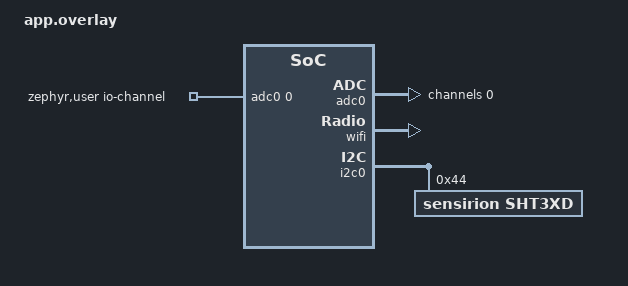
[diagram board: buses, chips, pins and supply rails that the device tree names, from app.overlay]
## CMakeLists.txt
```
cmake_minimum_required(VERSION 3.22)
set(BOARD esp32_devkitc_wrover)

find_package(Zephyr)
project(weather-station)

FILE(GLOB app_sources
    src/*.c
    src/wifi/*.c
    src/sensors/*.c
    src/telemetry/*.c
    )

target_sources(app PRIVATE ${app_sources})
```

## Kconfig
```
mainmenu "DRO application"

#
# Zephyr configuration options
# Source the Kconfig.zephyr in the Zephyr root directory.
# Check out the docs: https://docs.zephyrproject.org/latest/develop/application/index.html#application-cmakelists-txt
#
menu "Zephyr"
source "Kconfig.zephyr"
endmenu

#
# Set the module name for logging
# Check out the docs: https://docs.zephyrproject.org/latest/services/logging/index.html#logging-in-a-module
#

config MQTT_BROKER_IP_ADDRESS
    string "MQTT Broker IP Address"
    default "0.0.0.0"

config MQTT_BROKER_PORT
    int "MQTT Broker Port"
    default 1883

config WIFI_SSID
    string "WiFi SSID"
    default "Vlado"

config WIFI_PSK
    string "WiFi PSK"
    default "12345678"
```

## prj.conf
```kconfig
CONFIG_SENSOR=y
CONFIG_ADC=y
CONFIG_GPIO=y
CONFIG_I2C=y
CONFIG_DHT=y

# Logging
CONFIG_PRINTK=y
CONFIG_LOG=y
CONFIG_STDOUT_CONSOLE=y


# CONFIG_SHELL=y

# Need float format support
CONFIG_REQUIRES_FULL_LIBC=y
CONFIG_REQUIRES_FLOAT_PRINTF=y
CONFIG_CBPRINTF_FP_SUPPORT=y

# CONFIG_SERIAL=y
# CONFIG_CONSOLE=y
# CONFIG_UART_CONSOLE=y
# CONFIG_UART_LINE_CTRL=y

# WIFI configs

# CONFIG_EARLY_CONSOLE=y

CONFIG_NETWORKING=y
CONFIG_TEST_RANDOM_GENERATOR=y
CONFIG_NET_CONFIG_SETTINGS=y
CONFIG_NET_MGMT_EVENT_INFO=y

CONFIG_NET_DHCPV4=y

CONFIG_NET_IPV4=y
CONFIG_NET_IPV6=n

CONFIG_NET_TCP=y

# CONFIG_NET_LOG=y
CONFIG_INIT_STACKS=y

# CONFIG_NET_SHELL=y

# CONFIG_NET_STATISTICS=y
# CONFIG_NET_STATISTICS_PERIODIC_OUTPUT=n

CONFIG_WIFI=y

CONFIG_NET_L2_ETHERNET=y

CONFIG_MQTT_LIB=y
```

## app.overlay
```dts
/ {

  zephyr,user {
      io-channels = <&adc0 0>;
  };

	
};

&adc0 {
	status = "okay";
  #address-cells = <1>;
  #size-cells = <0>;

  channel@0 {
      reg = <0>;
      zephyr,gain = "ADC_GAIN_1";
      zephyr,reference = "ADC_REF_INTERNAL";
      zephyr,acquisition-time = <ADC_ACQ_TIME_DEFAULT>;
      zephyr,resolution = <12>;
    };
};

&wifi {
    status = "okay";
};

&gpio1 {
  status = "okay";
};

&i2c0 {
	sht3xd@44 {
		compatible = "sensirion,sht3xd";
		reg = <0x44>;
	};
};
```

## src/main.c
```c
#include <zephyr/kernel.h>
#include <zephyr/logging/log.h>
LOG_MODULE_REGISTER(ws, CONFIG_LOG_DEFAULT_LEVEL);

#include "sensors/photoresistor.h"
#include "sensors/sht3xd.h"
#include "wifi/wifi.h"
#include "telemetry/mqtt_service.h"
#include "utils.h"

#include <stdbool.h>
#include <stdio.h>
#include <stdlib.h>


// Thread specifications
#define THREAD_PRIORITY 7
#define THREAD_STACK_SIZE 1024
#define THREAD_TIMESLICE K_MSEC(100)
K_THREAD_STACK_DEFINE(ws_stack, THREAD_STACK_SIZE);

static struct k_thread ws_thread;

static mqtt_service_t mqtt_service;
static const struct device *sht3xd;
 

/* ws_thread task function */
static void sensor_thread();

static int mqtt_topic_callback(struct mqtt_service *service, const char *topic,
                               size_t payload_len);




int main(void) {

  /* SETUP DEVICES */
  sht3xd = sht3xd_setup();
  photoresistor_setup();

  /* START WIFI */
  wifi_start(WIFI_SSID, WIFI_PSK);

  /* INIT AND START MQTT */
  mqtt_service_init(&mqtt_service, MQTT_CLIENTID, MQTT_BROKER_ADDR,
                    MQTT_BROKER_PORT, mqtt_topic_callback);
  mqtt_service_start(&mqtt_service);

  while (mqtt_service.state != MQTT_SERVICE_CONNECTED) {
    k_sleep(K_MSEC(1000));
  }

  /* CREATE THE MAIN THREAD */
  k_tid_t my_tid = k_thread_create(
      &ws_thread, ws_stack, K_THREAD_STACK_SIZEOF(ws_stack), sensor_thread,
      NULL, NULL, NULL, THREAD_PRIORITY, 0, K_NO_WAIT);

  return 0;
}

static void sensor_thread() {
  double light, temp, hum;
  char output[64];

  while (1) {
    sht3xd_fetch(sht3xd, &temp, &hum);
    light = photoresistor_fetch();

    snprintf(output, sizeof(output), "[%s]: %.1f Cel ; %.1f %%RH ; %.1f %%\n",
             now_str(), temp, hum, light);
    mqtt_service_publish(&mqtt_service, "test/topic", MQTT_QOS_0_AT_MOST_ONCE,
                         &output, sizeof(output));
    k_sleep(K_SECONDS(5));
  }
}

static int mqtt_topic_callback(struct mqtt_service *service, const char *topic,
                               size_t payload_len){

  LOG_ERR("topic: %s", topic);
  return 0;
}
```

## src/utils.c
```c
#include "utils.h"
#include <stdint.h>
#include <zephyr/kernel.h>

const char *now_str(void) {
  static char buf[16]; /* ...HH:MM:SS.MMM */
  uint32_t now = k_uptime_get_32();
  unsigned int ms = now % MSEC_PER_SEC;
  unsigned int s;
  unsigned int min;
  unsigned int h;

  now /= MSEC_PER_SEC;
  s = now % 60U;
  now /= 60U;
  min = now % 60U;
  now /= 60U;
  h = now;

  snprintf(buf, sizeof(buf), "%u:%02u:%02u.%03u", h, min, s, ms);
  return buf;
}
void utils_display(double temp, double humid, double light) {

  printk("[%s]: %.2f Cel ; %.2f %%RH ;  %.2f %%\n", now_str(), temp, humid,
         light);
}
```

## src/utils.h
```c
#ifndef UTILS_H
#define UTILS_H
const char *now_str(void);
void utils_display(double temp, double humid, double light);
#endif // !UTILS_H
```

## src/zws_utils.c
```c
#include "zws_utils.h"
#include <stdint.h>
#include <zephyr/kernel.h>

const char *now_str(void) {
  static char buf[16]; /* ...HH:MM:SS.MMM */
  uint32_t now = k_uptime_get_32();
  unsigned int ms = now % MSEC_PER_SEC;
  unsigned int s;
  unsigned int min;
  unsigned int h;

  now /= MSEC_PER_SEC;
  s = now % 60U;
  now /= 60U;
  min = now % 60U;
  now /= 60U;
  h = now;

  snprintf(buf, sizeof(buf), "%u:%02u:%02u.%03u", h, min, s, ms);
  return buf;
}
void zws_utils_display(double temp, double humid, double light) {

  printk("[%s]: %.2f Cel ; %.2f %%RH ;  %.2f %%\n", now_str(), temp, humid,
         light);
}
```

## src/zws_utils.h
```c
#ifndef ZWS_UTILS_H
#define ZWS_UTILS_H
const char *now_str(void);
void zws_utils_display(double temp, double humid, double light);
#endif // !ZWS_UTILS_H
```
